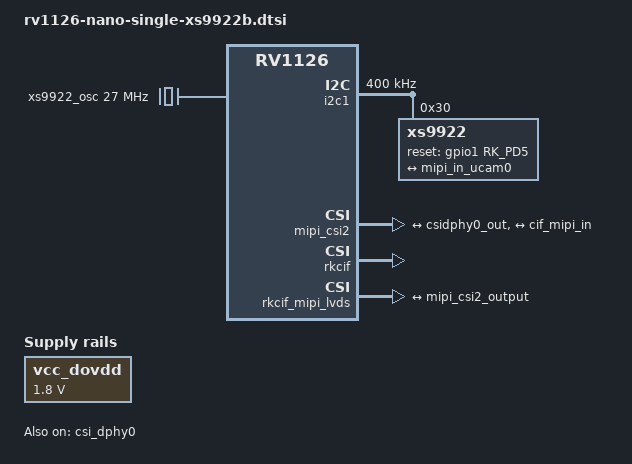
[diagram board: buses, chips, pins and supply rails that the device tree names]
// SPDX-License-Identifier: (GPL-2.0+ OR MIT)
/*
 * Guangzhou Easy EAI Technology Co., Ltd.
 *
 */

/ {
	xs9922_osc: xs9922_osc {
		compatible = "fixed-clock";
		#clock-cells = <0>;
		clock-frequency  = <27000000>;
	};
};

&csi_dphy0 {
	status = "okay";

	ports {
		#address-cells = <1>;
		#size-cells = <0>;
		port@0 {
			reg = <0>;
			#address-cells = <1>;
			#size-cells = <0>;

			mipi_in_ucam0: endpoint@1 {
				reg = <1>;
				remote-endpoint = <&ucam_out0>;
				data-lanes = <1 2 3 4>;
			};
		};
		port@1 {
			reg = <1>;
			#address-cells = <1>;
			#size-cells = <0>;

			csidphy0_out: endpoint@0 {
				reg = <0>;
				remote-endpoint = <&mipi_csi2_input>;
				data-lanes = <1 2 3 4>;
			};
		};
	};
};

&i2c1 {
	status = "okay";
	clock-frequency = <400000>;

	xs9922: xs9922@30 {
		compatible = "xs9922";
		reg = <0x30>;
		clocks = <&xs9922_osc>;
		clock-names = "xvclk";
		power-domains = <&power RV1126_PD_VI>;
		pinctrl-names = "default";
		pinctrl-0 = <&csi0_rst>;
		reset-gpios = <&gpio1 RK_PD5 GPIO_ACTIVE_HIGH>;
		rockchip,camera-module-index = <0>;
		rockchip,camera-module-facing = "front";
		rockchip,camera-module-name = "xs9922";
		rockchip,camera-module-lens-name = "xs9922";
		port {
			ucam_out0: endpoint {
				remote-endpoint = <&mipi_in_ucam0>;
				data-lanes = <1 2 3 4>;
			};
		};
	};
};

&mipi_csi2 {
	status = "okay";
	ports {
		#address-cells = <1>;
		#size-cells = <0>;

		port@0 {
			reg = <0>;
			#address-cells = <1>;
			#size-cells = <0>;

			mipi_csi2_input: endpoint@1 {
				reg = <1>;
				remote-endpoint = <&csidphy0_out>;
				data-lanes = <1 2 3 4>;
			};
		};

		port@1 {
			reg = <1>;
			#address-cells = <1>;
			#size-cells = <0>;

			mipi_csi2_output: endpoint@0 {
				reg = <0>;
				remote-endpoint = <&cif_mipi_in>;
				data-lanes = <1 2 3 4>;
			};
		};
	};
};

&pinctrl {
	mipi-csi {
		/omit-if-no-ref/
		csi0_rst: csi0_rst {
			rockchip,pins =
				<1 RK_PD5 RK_FUNC_GPIO &pcfg_pull_up>;
		};
	};
};

&rkcif {
	status = "okay";
};

&rkcif_mipi_lvds {
	status = "okay";
	port {
		cif_mipi_in: endpoint {
			remote-endpoint = <&mipi_csi2_output>;
			data-lanes = <1 2 3 4>;
		};
	};
};

&vcc_dovdd {
	regulator-always-on;
	regulator-boot-on;
	regulator-min-microvolt = <1800000>;
	regulator-max-microvolt = <1800000>;
	regulator-name = "vcc_dovdd";
	regulator-state-mem {
		regulator-off-in-suspend;
	};
};
